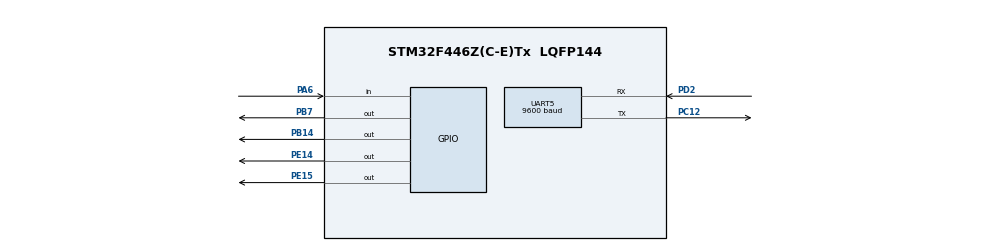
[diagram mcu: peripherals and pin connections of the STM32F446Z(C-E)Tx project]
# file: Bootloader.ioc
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Mcu.Family=STM32F4
Mcu.Name=STM32F446Z(C-E)Tx
Mcu.Package=LQFP144
NVIC.PriorityGroup=NVIC_PRIORITYGROUP_4
PA13.Mode=Serial_Wire
PA13.Signal=SYS_JTMS-SWDIO
PA14.Mode=Serial_Wire
PA14.Signal=SYS_JTCK-SWCLK
PA6.Signal=GPIO_Input
PB14.Signal=GPIO_Output
PB7.Signal=GPIO_Output
PC12.Mode=Asynchronous
PC12.Signal=UART5_TX
PD2.Mode=Asynchronous
PD2.Signal=UART5_RX
PE14.Signal=GPIO_Output
PE15.Signal=GPIO_Output
ProjectManager.HeapSize=0x200
ProjectManager.StackSize=0x400
ProjectManager.TargetToolchain=STM32CubeIDE
RCC.CortexFreq_Value=16000000
RCC.USBFreq_Value=96000000
RCC.VCOOutputFreq_Value=192000000
UART5.BaudRate=9600
UART5.VirtualMode=Asynchronous
board=custom

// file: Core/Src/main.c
/* USER CODE BEGIN Header */
/**
  ******************************************************************************
  * @file           : main.c
  * @brief          : Main program body
  ******************************************************************************
  * @attention
  *
  * Copyright (c) 2026 STMicroelectronics.
  * All rights reserved.
  *
  * This software is licensed under terms that can be found in the LICENSE file
  * in the root directory of this software component.
  * If no LICENSE file comes with this software, it is provided AS-IS.
  *
  ******************************************************************************
  */
/* USER CODE END Header */
#include "main.h"

/* USER CODE BEGIN Includes */
#include "bl_jump.h"
#include "bl_ota.h"
#include <string.h>
#include "ota_image.h"

/* USER CODE END Includes */

/* USER CODE BEGIN PTD */
//#define OTA_SIZE_ADDR  0x08007FFC
/* USER CODE END PTD */

UART_HandleTypeDef huart5;

void SystemClock_Config(void);
static void MX_GPIO_Init(void);
static void MX_UART5_Init(void);

/* USER CODE BEGIN 0 */

static uint32_t mem_base = 0;
static uint32_t mem_cursor = 0;
static uint32_t ota_image_total_size = 16;
uint8_t setRCmd[6] = {0xC0, 0x00, 0x10, 0x1A, 0x07, 0x44};
GPIO_PinState auxStateR;
uint32_t image_size;
uint8_t image[32];
uint32_t received = 0;
uint32_t remaining;

void ota_mem_set_total_size(uint32_t size)
{
	ota_image_total_size = size;
}

int ota_read_mem(uint8_t *buf, uint32_t len)
{
	if(mem_cursor + len > ota_image_total_size)
		return -1;

	memcpy(buf, &ota_image_bin[mem_base + mem_cursor], len);

	mem_cursor += len;
	return 0;
}

void SleepRMs(void){
	HAL_GPIO_WritePin(GPIOE, GPIO_PIN_14, GPIO_PIN_SET);
	HAL_GPIO_WritePin(GPIOE, GPIO_PIN_15, GPIO_PIN_SET);
	HAL_Delay(50);
}

void WakeUpRMs(void){
	HAL_GPIO_WritePin(GPIOE, GPIO_PIN_14, GPIO_PIN_RESET);
	HAL_GPIO_WritePin(GPIOE, GPIO_PIN_15, GPIO_PIN_RESET);
	HAL_Delay(50);
}

void SetRModuleParameters(void) {

    auxStateR = HAL_GPIO_ReadPin(GPIOA, GPIO_PIN_6);
    if (auxStateR == GPIO_PIN_SET) {

        HAL_UART_Transmit(&huart5, setRCmd, 6, 100);
        HAL_Delay(50);
    }
}

GPIO_PinState IsAUXReady(void){
	return HAL_GPIO_ReadPin(GPIOA, GPIO_PIN_6);
}

HAL_StatusTypeDef WaitAUXReady(void)
{
	uint32_t timeout = HAL_GetTick() + 500;
	while (!IsAUXReady())
	{
		if (HAL_GetTick() > timeout)
			return HAL_TIMEOUT;
	}
	return HAL_OK;
}

void CheckTimeout(HAL_StatusTypeDef status)
{
	if(status == HAL_TIMEOUT)
		while(1)
		{
			HAL_GPIO_TogglePin(GPIOB, GPIO_PIN_14);
			HAL_Delay(1000);
		}
}

void SendImageSizeNACK(void)
{
	uint8_t nack = 0x00;

	CheckTimeout(WaitAUXReady());
	HAL_StatusTypeDef status = (HAL_UART_Transmit(&huart5, &nack, 1, 200));

	while (status != HAL_OK)
	{
		if (status == HAL_TIMEOUT)
		{
			HAL_GPIO_WritePin(GPIOB, GPIO_PIN_14, GPIO_PIN_SET);

			CheckTimeout(WaitAUXReady());
			status = HAL_UART_Transmit(&huart5, &nack, 1, 200);

		}
		// HAL_ERROR and HAL_BUSY for debug.
		else if (status == HAL_ERROR){

			  HAL_GPIO_TogglePin(GPIOB, GPIO_PIN_14);
			  HAL_GPIO_TogglePin(GPIOB, GPIO_PIN_7);
			  HAL_Delay(100);

		}
		else if (status == HAL_BUSY){

			  HAL_GPIO_TogglePin(GPIOB, GPIO_PIN_14);
			  HAL_GPIO_TogglePin(GPIOB, GPIO_PIN_7);
			  HAL_Delay(2000);

		}
	}
	HAL_GPIO_WritePin(GPIOB, GPIO_PIN_14, GPIO_PIN_RESET);
}

void SendImageSizeACK(void)
{
	uint8_t ack = 0x01;

	CheckTimeout(WaitAUXReady());
	HAL_StatusTypeDef status = HAL_UART_Transmit(&huart5, &ack, 1, 200);

	while (status != HAL_OK)
	{
		if (status == HAL_TIMEOUT)
		{
			HAL_GPIO_WritePin(GPIOB, GPIO_PIN_14, GPIO_PIN_SET);

			CheckTimeout(WaitAUXReady());
			status = HAL_UART_Transmit(&huart5, &ack, 1, 200);

		}
		// HAL_ERROR and HAL_BUSY for debug.
		else if (status == HAL_ERROR){

			  HAL_GPIO_TogglePin(GPIOB, GPIO_PIN_14);
			  HAL_GPIO_TogglePin(GPIOB, GPIO_PIN_7);
			  HAL_Delay(100);

		}
		else if (status == HAL_BUSY){

			  HAL_GPIO_TogglePin(GPIOB, GPIO_PIN_14);
			  HAL_GPIO_TogglePin(GPIOB, GPIO_PIN_7);
			  HAL_Delay(2000);

		}
	}
	HAL_GPIO_WritePin(GPIOB, GPIO_PIN_14, GPIO_PIN_RESET);
}

void SendChunkACK(void)
{
	uint8_t ack = 0x01;

	CheckTimeout(WaitAUXReady());
	HAL_StatusTypeDef status = HAL_UART_Transmit(&huart5, &ack, 1, 200);

	while (status != HAL_OK)
	{
		if (status == HAL_TIMEOUT)
		{
			HAL_GPIO_WritePin(GPIOB, GPIO_PIN_14, GPIO_PIN_SET);

			CheckTimeout(WaitAUXReady());
			status = HAL_UART_Transmit(&huart5, &ack, 1, 200);

		}
		// HAL_ERROR and HAL_BUSY for debug.
		else if (status == HAL_ERROR){

			  HAL_GPIO_TogglePin(GPIOB, GPIO_PIN_14);
			  HAL_GPIO_TogglePin(GPIOB, GPIO_PIN_7);
			  HAL_Delay(100);

		}
		else if (status == HAL_BUSY){

			  HAL_GPIO_TogglePin(GPIOB, GPIO_PIN_14);
			  HAL_GPIO_TogglePin(GPIOB, GPIO_PIN_7);
			  HAL_Delay(2000);

		}
	}
	HAL_GPIO_WritePin(GPIOB, GPIO_PIN_14, GPIO_PIN_RESET);
}

void SendEnableOTA(void)
{
	uint8_t ack = 0x01;

	CheckTimeout(WaitAUXReady());
	HAL_StatusTypeDef status = (HAL_UART_Transmit(&huart5, &ack, 1, 1000));

	while (status != HAL_OK)
	{
		if (status == HAL_TIMEOUT)
		{
			HAL_GPIO_WritePin(GPIOB, GPIO_PIN_14, GPIO_PIN_SET);

			CheckTimeout(WaitAUXReady());
			status = HAL_UART_Transmit(&huart5, &ack, 1, 1000);

		}
		// HAL_ERROR and HAL_BUSY for debug.
		else if (status == HAL_ERROR){

			  HAL_GPIO_TogglePin(GPIOB, GPIO_PIN_14);
			  HAL_GPIO_TogglePin(GPIOB, GPIO_PIN_7);
			  HAL_Delay(100);

		}
		else if (status == HAL_BUSY){

			  HAL_GPIO_TogglePin(GPIOB, GPIO_PIN_14);
			  HAL_GPIO_TogglePin(GPIOB, GPIO_PIN_7);
			  HAL_Delay(2000);
		}
	}
	HAL_GPIO_WritePin(GPIOB, GPIO_PIN_14, GPIO_PIN_RESET);
}

void ReceiveImage(uint32_t size)
{

	CheckTimeout(WaitAUXReady());
	HAL_StatusTypeDef status = (HAL_UART_Receive(&huart5, image, size, 200));

	while (status != HAL_OK)
	{
		if (status == HAL_TIMEOUT)
		{
			HAL_GPIO_WritePin(GPIOB, GPIO_PIN_14, GPIO_PIN_SET);

			CheckTimeout(WaitAUXReady());
			status = HAL_UART_Receive(&huart5, image, size, 200);

		}
		// HAL_ERROR and HAL_BUSY for debug.
		else if (status == HAL_ERROR){

			  HAL_GPIO_TogglePin(GPIOB, GPIO_PIN_14);
			  HAL_GPIO_TogglePin(GPIOB, GPIO_PIN_7);
			  HAL_Delay(100);

		}
		else if (status == HAL_BUSY){

			  HAL_GPIO_TogglePin(GPIOB, GPIO_PIN_14);
			  HAL_GPIO_TogglePin(GPIOB, GPIO_PIN_7);
			  HAL_Delay(2000);

		}
	}

	SendChunkACK();
	HAL_GPIO_WritePin(GPIOB, GPIO_PIN_14, GPIO_PIN_RESET);

}

void ReceiveImageSize()
{

	CheckTimeout(WaitAUXReady());
	HAL_StatusTypeDef status = (HAL_UART_Receive(&huart5, (uint8_t*)&image_size, sizeof(image_size), 200));

	while (status != HAL_OK)
	{
		if (status == HAL_TIMEOUT)
		{
			HAL_GPIO_WritePin(GPIOB, GPIO_PIN_14, GPIO_PIN_SET);

			CheckTimeout(WaitAUXReady());
			status = HAL_UART_Receive(&huart5, (uint8_t*)&image_size, sizeof(image_size), 200);

		}
		// HAL_ERROR and HAL_BUSY for debug.
		else if (status == HAL_ERROR){

			  HAL_GPIO_TogglePin(GPIOB, GPIO_PIN_14);
			  HAL_GPIO_TogglePin(GPIOB, GPIO_PIN_7);
			  HAL_Delay(100);

		}
		else if (status == HAL_BUSY){

			  HAL_GPIO_TogglePin(GPIOB, GPIO_PIN_14);
			  HAL_GPIO_TogglePin(GPIOB, GPIO_PIN_7);
			  HAL_Delay(2000);

		}
	}

	SendImageSizeACK();
	HAL_GPIO_WritePin(GPIOB, GPIO_PIN_14, GPIO_PIN_RESET);

}

/* USER CODE END 0 */

int main(void)
{

  /* MCU Configuration--------------------------------------------------------*/

  /* Reset of all peripherals, Initializes the Flash interface and the Systick. */
  HAL_Init();

  /* Configure the system clock */
  SystemClock_Config();

  /* Initialize all configured peripherals */
  MX_GPIO_Init();
  MX_UART5_Init();
  /* USER CODE BEGIN 2 */
  SleepRMs(); // LoRa Sleep Mode
  SetRModuleParameters(); // send command parameters into LoRa
  WakeUpRMs(); // Wake Up Mode

  if (check_ota_request() == 0)
  {

	  SendEnableOTA();

	  while (image_size == 0)
	  {
		 ReceiveImageSize();
	  }

	  if (image_size == 0 || image_size > OTA_MAX_SIZE)
	  {

		  SendImageSizeNACK();

		  while (1)
		  {
			  HAL_GPIO_TogglePin(GPIOB, GPIO_PIN_14);
			  HAL_GPIO_TogglePin(GPIOB, GPIO_PIN_7);
			  HAL_Delay(500);

		  }
	  }

	  ota_image_bin_len = image_size;
	  received = 0;

	  while(received < image_size)
	  {
		  remaining = image_size - received;

		  uint32_t len = (remaining > sizeof(image)) ? sizeof(image) : remaining;

		  ReceiveImage(len);

		  memcpy(&ota_image_bin[received], image, len);

		  received += len;
	  }

	  ota_stream_t stream =
	  {
			  .read = ota_read_mem,
			  .set_total_size = ota_mem_set_total_size
	  };

	  bl_ota_ctx_t ctx;

	  if (bl_ota_run(&ctx, &stream) != 0)
	  {
		  while(1)
		  {
			  HAL_GPIO_TogglePin(GPIOB, GPIO_PIN_7);
			  HAL_Delay(100);
		  }
	  } else{
		  HAL_GPIO_WritePin(GPIOB, GPIO_PIN_7, 0);
	  }
  }

  if (bootloader_is_app_valid() != 0)
  {
	  while (1)
	  {
		  HAL_GPIO_TogglePin(GPIOB, GPIO_PIN_7);
		  HAL_Delay(500);
	  }
  }

  JumpToApplication();
  /* USER CODE END 2 */

  /* Infinite loop */
  while (1)
  {

    /* USER CODE BEGIN 3 */

	  	HAL_GPIO_TogglePin(GPIOB, GPIO_PIN_14);
		HAL_Delay(1000);
  }
  /* USER CODE END 3 */
}

void SystemClock_Config(void)
{
  RCC_OscInitTypeDef RCC_OscInitStruct = {0};
  RCC_ClkInitTypeDef RCC_ClkInitStruct = {0};

  /** Configure the main internal regulator output voltage
  */
  __HAL_RCC_PWR_CLK_ENABLE();
  __HAL_PWR_VOLTAGESCALING_CONFIG(PWR_REGULATOR_VOLTAGE_SCALE3);

  /** Initializes the RCC Oscillators according to the specified parameters
  * in the RCC_OscInitTypeDef structure.
  */
  RCC_OscInitStruct.OscillatorType = RCC_OSCILLATORTYPE_HSI;
  RCC_OscInitStruct.HSIState = RCC_HSI_ON;
  RCC_OscInitStruct.HSICalibrationValue = RCC_HSICALIBRATION_DEFAULT;
  RCC_OscInitStruct.PLL.PLLState = RCC_PLL_NONE;
  if (HAL_RCC_OscConfig(&RCC_OscInitStruct) != HAL_OK)
  {
    Error_Handler();
  }

  /** Initializes the CPU, AHB and APB buses clocks
  */
  RCC_ClkInitStruct.ClockType = RCC_CLOCKTYPE_HCLK|RCC_CLOCKTYPE_SYSCLK
                              |RCC_CLOCKTYPE_PCLK1|RCC_CLOCKTYPE_PCLK2;
  RCC_ClkInitStruct.SYSCLKSource = RCC_SYSCLKSOURCE_HSI;
  RCC_ClkInitStruct.AHBCLKDivider = RCC_SYSCLK_DIV1;
  RCC_ClkInitStruct.APB1CLKDivider = RCC_HCLK_DIV1;
  RCC_ClkInitStruct.APB2CLKDivider = RCC_HCLK_DIV1;

  if (HAL_RCC_ClockConfig(&RCC_ClkInitStruct, FLASH_LATENCY_0) != HAL_OK)
  {
    Error_Handler();
  }
}

static void MX_UART5_Init(void)
{

  huart5.Instance = UART5;
  huart5.Init.BaudRate = 9600;
  huart5.Init.WordLength = UART_WORDLENGTH_8B;
  huart5.Init.StopBits = UART_STOPBITS_1;
  huart5.Init.Parity = UART_PARITY_NONE;
  huart5.Init.Mode = UART_MODE_TX_RX;
  huart5.Init.HwFlowCtl = UART_HWCONTROL_NONE;
  huart5.Init.OverSampling = UART_OVERSAMPLING_16;
  if (HAL_UART_Init(&huart5) != HAL_OK)
  {
    Error_Handler();
  }

}

static void MX_GPIO_Init(void)
{
  GPIO_InitTypeDef GPIO_InitStruct = {0};

  /* GPIO Ports Clock Enable */
  __HAL_RCC_GPIOA_CLK_ENABLE();
  __HAL_RCC_GPIOE_CLK_ENABLE();
  __HAL_RCC_GPIOB_CLK_ENABLE();
  __HAL_RCC_GPIOC_CLK_ENABLE();
  __HAL_RCC_GPIOD_CLK_ENABLE();

  /*Configure GPIO pin Output Level */
  HAL_GPIO_WritePin(GPIOE, GPIO_PIN_14|GPIO_PIN_15, GPIO_PIN_RESET);

  /*Configure GPIO pin Output Level */
  HAL_GPIO_WritePin(GPIOB, GPIO_PIN_14|GPIO_PIN_7, GPIO_PIN_RESET);

  /*Configure GPIO pin : PA6 */
  GPIO_InitStruct.Pin = GPIO_PIN_6;
  GPIO_InitStruct.Mode = GPIO_MODE_INPUT;
  GPIO_InitStruct.Pull = GPIO_NOPULL;
  HAL_GPIO_Init(GPIOA, &GPIO_InitStruct);

  /*Configure GPIO pins : PE14 PE15 */
  GPIO_InitStruct.Pin = GPIO_PIN_14|GPIO_PIN_15;
  GPIO_InitStruct.Mode = GPIO_MODE_OUTPUT_PP;
  GPIO_InitStruct.Pull = GPIO_NOPULL;
  GPIO_InitStruct.Speed = GPIO_SPEED_FREQ_LOW;
  HAL_GPIO_Init(GPIOE, &GPIO_InitStruct);

  /*Configure GPIO pins : PB14 PB7 */
  GPIO_InitStruct.Pin = GPIO_PIN_14|GPIO_PIN_7;
  GPIO_InitStruct.Mode = GPIO_MODE_OUTPUT_PP;
  GPIO_InitStruct.Pull = GPIO_NOPULL;
  GPIO_InitStruct.Speed = GPIO_SPEED_FREQ_LOW;
  HAL_GPIO_Init(GPIOB, &GPIO_InitStruct);

}

void Error_Handler(void)
{
  __disable_irq();
  while (1)
  {
  }
}
